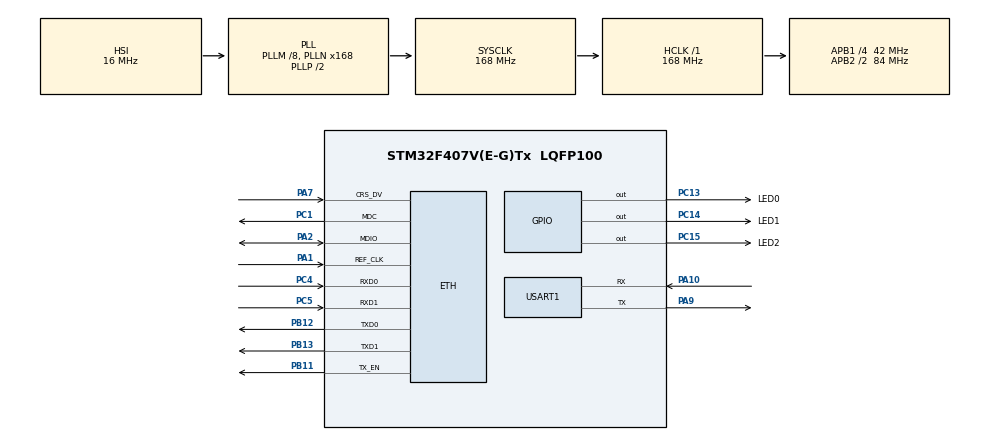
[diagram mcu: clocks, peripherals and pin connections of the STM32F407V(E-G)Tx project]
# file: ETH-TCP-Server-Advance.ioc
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Dma.Request0=USART1_RX
Dma.Request1=USART1_TX
Dma.USART1_RX.0.Direction=DMA_PERIPH_TO_MEMORY
Dma.USART1_RX.0.FIFOMode=DMA_FIFOMODE_DISABLE
Dma.USART1_RX.0.Instance=DMA2_Stream2
Dma.USART1_RX.0.MemDataAlignment=DMA_MDATAALIGN_BYTE
Dma.USART1_RX.0.MemInc=DMA_MINC_ENABLE
Dma.USART1_RX.0.Mode=DMA_NORMAL
Dma.USART1_RX.0.PeriphDataAlignment=DMA_PDATAALIGN_BYTE
Dma.USART1_RX.0.PeriphInc=DMA_PINC_DISABLE
Dma.USART1_RX.0.Priority=DMA_PRIORITY_LOW
Dma.USART1_TX.1.Direction=DMA_MEMORY_TO_PERIPH
Dma.USART1_TX.1.FIFOMode=DMA_FIFOMODE_DISABLE
Dma.USART1_TX.1.Instance=DMA2_Stream7
Dma.USART1_TX.1.MemDataAlignment=DMA_MDATAALIGN_BYTE
Dma.USART1_TX.1.MemInc=DMA_MINC_ENABLE
Dma.USART1_TX.1.Mode=DMA_NORMAL
Dma.USART1_TX.1.PeriphDataAlignment=DMA_PDATAALIGN_BYTE
Dma.USART1_TX.1.PeriphInc=DMA_PINC_DISABLE
Dma.USART1_TX.1.Priority=DMA_PRIORITY_LOW
ETH.AutoNegotiation=ETH_AUTONEGOTIATION_DISABLE
ETH.MediaInterface=ETH_MEDIA_INTERFACE_RMII
ETH.PHY_Name_RMII=DP83848_PHY_ADDRESS
LWIP.GATEWAY_ADDRESS=192.168.100.001
LWIP.IP_ADDRESS=192.168.100.200
LWIP.LWIP_DHCP=0
LWIP.MEM_SIZE=10240
LWIP.NETMASK_ADDRESS=255.255.255.000
LWIP.PBUF_POOL_BUFSIZE=1536
LWIP.TCP_MSS=1460
LWIP.Version=v2.1.2_Cube
Mcu.Family=STM32F4
Mcu.Name=STM32F407V(E-G)Tx
Mcu.Package=LQFP100
NVIC.DMA2_Stream2_IRQn=true\:0\:0\:false\:false\:true\:false\:true
NVIC.DMA2_Stream7_IRQn=true\:0\:0\:false\:false\:true\:false\:true
NVIC.PriorityGroup=NVIC_PRIORITYGROUP_4
NVIC.USART1_IRQn=true\:0\:0\:false\:false\:true\:true\:true
PA1.Mode=RMII
PA1.Signal=ETH_REF_CLK
PA10.Mode=Asynchronous
PA10.Signal=USART1_RX
PA2.Mode=RMII
PA2.Signal=ETH_MDIO
PA7.Mode=RMII
PA7.Signal=ETH_CRS_DV
PA9.Mode=Asynchronous
PA9.Signal=USART1_TX
PB11.Mode=RMII
PB11.Signal=ETH_TX_EN
PB12.Mode=RMII
PB12.Signal=ETH_TXD0
PB13.Mode=RMII
PB13.Signal=ETH_TXD1
PC1.Mode=RMII
PC1.Signal=ETH_MDC
PC13-ANTI_TAMP.GPIO_Label=LED0
PC13-ANTI_TAMP.Signal=GPIO_Output
PC14-OSC32_IN.GPIO_Label=LED1
PC14-OSC32_IN.Signal=GPIO_Output
PC15-OSC32_OUT.GPIO_Label=LED2
PC15-OSC32_OUT.Signal=GPIO_Output
PC4.Mode=RMII
PC4.Signal=ETH_RXD0
PC5.Mode=RMII
PC5.Signal=ETH_RXD1
ProjectManager.HeapSize=0x200
ProjectManager.StackSize=0x400
ProjectManager.TargetToolchain=MDK-ARM V5.27
RCC.48MHZClocksFreq_Value=84000000
RCC.AHBFreq_Value=168000000
RCC.APB1CLKDivider=RCC_HCLK_DIV4
RCC.APB1Freq_Value=42000000
RCC.APB1TimFreq_Value=84000000
RCC.APB2CLKDivider=RCC_HCLK_DIV2
RCC.APB2Freq_Value=84000000
RCC.APB2TimFreq_Value=168000000
RCC.CortexFreq_Value=168000000
RCC.HCLKFreq_Value=168000000
RCC.HSE_VALUE=25000000
RCC.HSI_VALUE=16000000
RCC.LSE_VALUE=32768
RCC.PLLM=8
RCC.PLLN=168
RCC.SYSCLKFreq_VALUE=168000000
RCC.SYSCLKSource=RCC_SYSCLKSOURCE_PLLCLK
RCC.VCOOutputFreq_Value=336000000
USART1.VirtualMode=VM_ASYNC
VP_LWIP_VS_Enabled.Mode=Enabled
board=custom

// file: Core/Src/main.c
/* USER CODE BEGIN Header */
/**
  ******************************************************************************
  * @file           : main.c
  * @brief          : Main program body
  ******************************************************************************
  * @attention
  *
  * <h2><center>&copy; Copyright (c) 2024 STMicroelectronics.
  * All rights reserved.</center></h2>
  *
  * This software component is licensed by ST under Ultimate Liberty license
  * SLA0044, the "License"; You may not use this file except in compliance with
  * the License. You may obtain a copy of the License at:
  *                             www.st.com/SLA0044
  *
  ******************************************************************************
  */
/* USER CODE END Header */
#include "main.h"
#include "dma.h"
#include "lwip.h"
#include "usart.h"
#include "gpio.h"

/* USER CODE BEGIN Includes */
#include "lwip/tcp.h"
#include "lwip/ip.h"
#include "lwip/ip_addr.h"

#include "ALCD.h"
#include "CircularBuffer.h"
#include <string.h>
#include <stdio.h>
/* USER CODE END Includes */

/* USER CODE BEGIN PTD */
typedef struct {
  GPIO_TypeDef*       GPIO;
  uint16_t            Pin;
} Led_PinConfig;

typedef struct {
  struct tcp_pcb*       Context;
  const Led_PinConfig*  LedConfig;
  // Other Configuration per Client
} Client;

/* USER CODE END PTD */

/* USER CODE BEGIN PD */
#define MAX_CLIENT            3
#define MAX_TCP_PACKET        1460
/* USER CODE END PD */

/* USER CODE BEGIN PV */
static const uint16_t SERVER_PORT     = 8585;

static const Led_PinConfig LED_CONFIGS[] = {
  { LED0_GPIO_Port, LED0_Pin },
  { LED1_GPIO_Port, LED1_Pin },
  { LED2_GPIO_Port, LED2_Pin },
};
static const uint16_t LED_CONFIGS_LEN = sizeof(LED_CONFIGS) / sizeof(LED_CONFIGS[0]);

static struct tcp_pcb* server;

static Client clients[MAX_CLIENT] = {0};

static UART_CircularBuffer txUART1 = {0};
static UART_CircularBuffer rxUART1 = {0};
static uint8_t             txBuff1[1024];
static uint8_t             rxBuff1[1024];

/* USER CODE END PV */

void SystemClock_Config(void);
/* USER CODE BEGIN PFP */
void Server_init(void);
err_t Server_onAccept(void *arg, struct tcp_pcb *newpcb, err_t err);
err_t Server_onReceive(void *arg, struct tcp_pcb *tpcb, struct pbuf *p, err_t err);
err_t Server_onPoll(void *arg, struct tcp_pcb *tpcb);
void  Server_onError(void *arg, err_t err);

Client* Server_addClient(struct tcp_pcb* ctx);
void Server_removeClient(struct tcp_pcb* ctx);
void Server_broadcast(uint8_t* buff, uint16_t len);
uint16_t Server_getClientIdx(Client* client);

const Led_PinConfig* getLedConfig(uint16_t idx);

/* USER CODE END PFP */

int main(void)
{

  /* MCU Configuration--------------------------------------------------------*/

  /* Reset of all peripherals, Initializes the Flash interface and the Systick. */
  HAL_Init();

  /* Configure the system clock */
  SystemClock_Config();

  /* Initialize all configured peripherals */
  MX_GPIO_Init();
  MX_DMA_Init();
  MX_USART1_UART_Init();
  MX_LWIP_Init();
  /* USER CODE BEGIN 2 */

  // Initialize ALCD
  ALCD_init(16, 2);
  ALCD_clear();

  // Initialize UART Buffers
  UART_CircularBuffer_init(&txUART1, &huart1, txBuff1, sizeof(txBuff1));
  UART_CircularBuffer_init(&rxUART1, &huart1, rxBuff1, sizeof(rxBuff1));
  UART_CircularBuffer_receive(&rxUART1);

  // Server Initialize
  Server_init();

  /* USER CODE END 2 */

  /* Infinite loop */
  /* USER CODE BEGIN WHILE */
  while (1)
  {
    MX_LWIP_Process();
    /* USER CODE END WHILE */

    /* USER CODE BEGIN 3 */
    if (UART_CircularBuffer_available(&rxUART1) > 0) {
      uint16_t len = UART_CircularBuffer_available(&rxUART1);
      if (len > 0) {
        uint8_t buff[MAX_TCP_PACKET];

        if (len > MAX_TCP_PACKET) {
          len = MAX_TCP_PACKET;
        }

        UART_CircularBuffer_readBytes(&rxUART1, buff, len);
        Server_broadcast(buff, len);
      }
    }
  }
  /* USER CODE END 3 */
}

void SystemClock_Config(void)
{
  RCC_OscInitTypeDef RCC_OscInitStruct = {0};
  RCC_ClkInitTypeDef RCC_ClkInitStruct = {0};

  /** Configure the main internal regulator output voltage
  */
  __HAL_RCC_PWR_CLK_ENABLE();
  __HAL_PWR_VOLTAGESCALING_CONFIG(PWR_REGULATOR_VOLTAGE_SCALE1);
  /** Initializes the RCC Oscillators according to the specified parameters
  * in the RCC_OscInitTypeDef structure.
  */
  RCC_OscInitStruct.OscillatorType = RCC_OSCILLATORTYPE_HSI;
  RCC_OscInitStruct.HSIState = RCC_HSI_ON;
  RCC_OscInitStruct.HSICalibrationValue = RCC_HSICALIBRATION_DEFAULT;
  RCC_OscInitStruct.PLL.PLLState = RCC_PLL_ON;
  RCC_OscInitStruct.PLL.PLLSource = RCC_PLLSOURCE_HSI;
  RCC_OscInitStruct.PLL.PLLM = 8;
  RCC_OscInitStruct.PLL.PLLN = 168;
  RCC_OscInitStruct.PLL.PLLP = RCC_PLLP_DIV2;
  RCC_OscInitStruct.PLL.PLLQ = 4;
  if (HAL_RCC_OscConfig(&RCC_OscInitStruct) != HAL_OK)
  {
    Error_Handler();
  }
  /** Initializes the CPU, AHB and APB buses clocks
  */
  RCC_ClkInitStruct.ClockType = RCC_CLOCKTYPE_HCLK|RCC_CLOCKTYPE_SYSCLK
                              |RCC_CLOCKTYPE_PCLK1|RCC_CLOCKTYPE_PCLK2;
  RCC_ClkInitStruct.SYSCLKSource = RCC_SYSCLKSOURCE_PLLCLK;
  RCC_ClkInitStruct.AHBCLKDivider = RCC_SYSCLK_DIV1;
  RCC_ClkInitStruct.APB1CLKDivider = RCC_HCLK_DIV4;
  RCC_ClkInitStruct.APB2CLKDivider = RCC_HCLK_DIV2;

  if (HAL_RCC_ClockConfig(&RCC_ClkInitStruct, FLASH_LATENCY_5) != HAL_OK)
  {
    Error_Handler();
  }
}

/* USER CODE BEGIN 4 */
void Server_init(void) {
  server = tcp_new();
  if (server) {
    err_t err = tcp_bind(server, IP_ADDR_ANY, SERVER_PORT);

    if (err == ERR_OK) {
      server = tcp_listen(server);
      tcp_accept(server, Server_onAccept);
    }
    else {
      memp_free(MEMP_TCP_PCB, server);
    }
  }
}
err_t Server_onAccept(void *arg, struct tcp_pcb *newpcb, err_t err) {
  if (newpcb && err == ERR_OK) {
    Client* client = Server_addClient(newpcb);

    if (client) {
      tcp_arg(newpcb, client);
      tcp_recv(newpcb, Server_onReceive);
      tcp_poll(newpcb, Server_onPoll, 1);
      tcp_err(newpcb, Server_onError);
    }
    else {
      // Reach Max clients
      tcp_close(newpcb);
      //tcp_abort(newpcb);
    }
  }

  return ERR_OK;
}

err_t Server_onReceive(void *arg, struct tcp_pcb *tpcb, struct pbuf *p, err_t err) {
  Client* client = (Client*) arg;

  if (tpcb) {
    if (p) {
      // Data Received
      char* pChr = strchr((char*) p->payload, ' ');
      if (pChr) {
        pChr++;
        uint32_t len = p->len - (uint32_t) ((uint8_t*) pChr - (uint8_t*) p->payload);

        if (strncmp((char*) p->payload, "alcd", 4) == 0) {
          ALCD_printfXY(0, 0, "Client: %u", Server_getClientIdx(client));
          uint32_t pad = 16 - len;
          char* c = pChr;
          ALCD_goto(0, 1);
          while (len-- > 0) {
            ALCD_putChar(*c++);
          }
          while (pad-- > 0) {
            ALCD_putChar(' ');
          }
        }
        else if (strncmp((char*) p->payload, "uart", 4) == 0) {
          UART_CircularBuffer_writeFmt(&txUART1, "Client: %u,", Server_getClientIdx(client));
          UART_CircularBuffer_writeBytes(&txUART1, (uint8_t*) pChr, len);
          UART_CircularBuffer_transmit(&txUART1);
        }

        pbuf_free(p);
      }
    }
    else {
      // Socket Closed
      Server_removeClient(tpcb);
    }
  }

  return ERR_OK;
}

err_t Server_onPoll(void *arg, struct tcp_pcb *tpcb) {
  Client* client = (Client*) arg;

  HAL_GPIO_TogglePin(client->LedConfig->GPIO, client->LedConfig->Pin);

  return ERR_OK;
}

void  Server_onError(void *arg, err_t err) {
  Client* client = (Client*) arg;
  Server_removeClient(client->Context);
}

Client* Server_addClient(struct tcp_pcb* ctx) {
  for (uint8_t i = 0; i < MAX_CLIENT; i++) {
    if (clients[i].Context == NULL) {
      clients[i].Context = ctx;
      clients[i].LedConfig = getLedConfig(i);
      // Other Initialize

      // Led On
      HAL_GPIO_WritePin(clients[i].LedConfig->GPIO, clients[i].LedConfig->Pin, GPIO_PIN_RESET);
      return &clients[i];
    }
  }

  return NULL;
}
void Server_removeClient(struct tcp_pcb* ctx) {
  for (uint8_t i = 0; i < MAX_CLIENT; i++) {
    if (clients[i].Context == ctx) {
      // LED Off
      HAL_GPIO_WritePin(clients[i].LedConfig->GPIO, clients[i].LedConfig->Pin, GPIO_PIN_SET);

      clients[i].Context = NULL;
      clients[i].LedConfig = NULL;
      // Other De-Initialize
      break;
    }
  }
}

void Server_broadcast(uint8_t* buff, uint16_t len) {
  for (uint8_t i = 0; i < MAX_CLIENT; i++) {
    if (clients[i].Context != NULL) {
      tcp_write(clients[i].Context, buff, len, TCP_WRITE_FLAG_COPY);
    }
  }
}

uint16_t Server_getClientIdx(Client* client) {
  return (uint16_t)(client - clients);
}

const Led_PinConfig* getLedConfig(uint16_t idx) {
  return &LED_CONFIGS[idx % LED_CONFIGS_LEN];
}

// -------------------------- UART Callbacks ---------------------------------

void HAL_UART_RxCpltCallback(UART_HandleTypeDef* huart) {
  switch ((uint32_t) huart->Instance) {
    case USART1_BASE:
      UART_CircularBuffer_handleRx(&rxUART1);
      break;
  }
}

void HAL_UART_TxCpltCallback(UART_HandleTypeDef* huart) {
  switch ((uint32_t) huart->Instance) {
    case USART1_BASE:
      UART_CircularBuffer_handleTx(&txUART1);
      break;
  }
}

void HAL_UART_ErrorCallback(UART_HandleTypeDef* huart) {
  switch ((uint32_t) huart->Instance) {
    case USART1_BASE:
      UART_CircularBuffer_resetIO(&rxUART1);
      UART_CircularBuffer_resetIO(&txUART1);
      UART_CircularBuffer_receive(&rxUART1);
      break;
  }
}

/* USER CODE END 4 */

void Error_Handler(void)
{
  __disable_irq();
  while (1)
  {
  }
}

/************************ (C) COPYRIGHT STMicroelectronics *****END OF FILE****/
